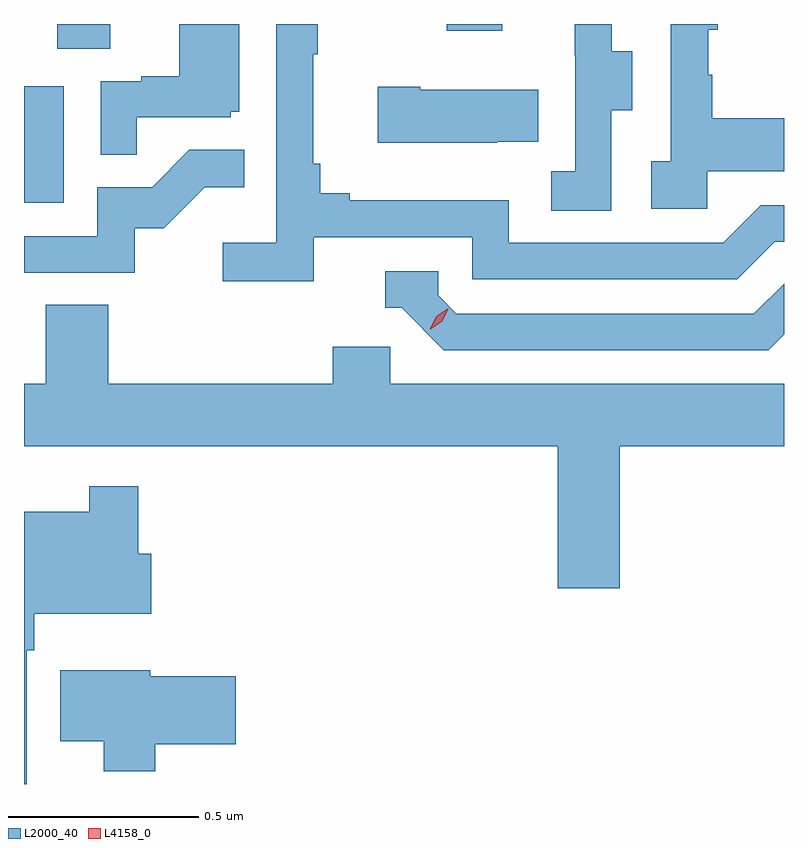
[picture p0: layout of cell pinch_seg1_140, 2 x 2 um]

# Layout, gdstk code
import gdstk
lib = gdstk.Library(unit=1e-6, precision=1e-09)
def R(c, l, rs):  # rectangles x0, y0, x1, y1
    for r in rs: c.add(gdstk.rectangle(r[:2], r[2:], *l))
def P(c, l, *ps):  # polygons
    for p in ps: c.add(gdstk.Polygon(p, *l))
L2000_40 = (2000, 40)
L4158_0 = (4158, 0)

pinch_seg1_140 = lib.new_cell('pinch_seg1_140')
R(pinch_seg1_140, L2000_40, [(1014.752,557.7,1014.856,558.007), (1014.839,558.106,1014.979,558.171), (1015.864,558.153,1016.011,558.171)])
P(pinch_seg1_140, L2000_40, [(1016.298,557.944),(1016.353,557.944),(1016.353,558.099),(1016.299,558.099),(1016.299,558.171),(1016.201,558.171),(1016.201,558.087),(1016.202,558.087),(1016.202,557.783),(1016.139,557.783),(1016.139,557.68),(1016.298,557.68)],
  [(1015.049,557.925),(1015.296,557.925),(1015.296,557.94),(1015.318,557.94),(1015.318,558.171),(1015.16,558.171),(1015.16,558.034),(1015.061,558.034),(1015.061,558.021),(1014.954,558.021),(1014.954,557.827),(1015.049,557.827)],
  [(1016.55,557.783),(1016.752,557.783),(1016.752,557.923),(1016.563,557.923),(1016.563,558.038),(1016.553,558.038),(1016.553,558.156),(1016.578,558.156),(1016.578,558.171),(1016.454,558.171),(1016.454,557.81),(1016.403,557.81),(1016.403,557.685),(1016.55,557.685)],
  [(1015.514,557.61),(1015.932,557.61),(1015.932,557.499),(1016.629,557.499),(1016.728,557.598),(1016.752,557.598),(1016.752,557.694),(1016.691,557.694),(1016.592,557.595),(1016.028,557.595),(1016.028,557.707),(1015.609,557.707),(1015.609,557.726),(1015.532,557.726),(1015.532,557.803),(1015.513,557.803),(1015.513,558.091),(1015.525,558.091),(1015.525,558.171),(1015.416,558.171),(1015.416,557.596),(1015.275,557.596),(1015.275,557.494),(1015.514,557.494)],
  [(1015.997,557.861),(1016.105,557.861),(1016.105,557.998),(1015.795,557.998),(1015.795,558.006),(1015.683,558.006),(1015.683,557.858),(1015.997,557.858)],
  [(1015.044,557.634),(1015.12,557.634),(1015.227,557.741),(1015.331,557.741),(1015.331,557.84),(1015.187,557.84),(1015.089,557.742),(1014.945,557.742),(1014.945,557.613),(1014.752,557.613),(1014.752,557.517),(1015.044,557.517)],
  [(1016.752,557.355),(1016.752,557.488),(1016.673,557.409),(1015.89,557.409),(1015.842,557.457),(1015.842,557.52),(1015.703,557.52),(1015.703,557.424),(1015.746,557.424),(1015.857,557.313),(1016.71,557.313)],
  [(1016.32,557.06),(1016.752,557.06),(1016.752,557.224),(1015.716,557.224),(1015.716,557.322),(1015.565,557.322),(1015.565,557.224),(1014.974,557.224),(1014.974,557.432),(1014.809,557.432),(1014.809,557.224),(1014.752,557.224),(1014.752,557.06),(1016.156,557.06),(1016.156,556.686),(1016.32,556.686)],
  [(1014.759,556.523),(1014.779,556.523),(1014.779,556.619),(1015.087,556.619),(1015.087,556.777),(1015.052,556.777),(1015.052,556.954),(1014.924,556.954),(1014.924,556.888),(1014.752,556.888),(1014.752,556.171),(1014.759,556.171)],
  [(1015.097,556.276),(1015.309,556.276),(1015.309,556.454),(1015.084,556.454),(1015.084,556.471),(1014.848,556.471),(1014.848,556.283),(1014.962,556.283),(1014.962,556.205),(1015.097,556.205)])
P(pinch_seg1_140, L4158_0, [(1015.821,557.368),(1015.821,557.369),(1015.837,557.402),(1015.867,557.422),(1015.868,557.422),(1015.868,557.422),(1015.852,557.389),(1015.822,557.368)])

lib.write_gds('pinch_seg1_140.gds')
